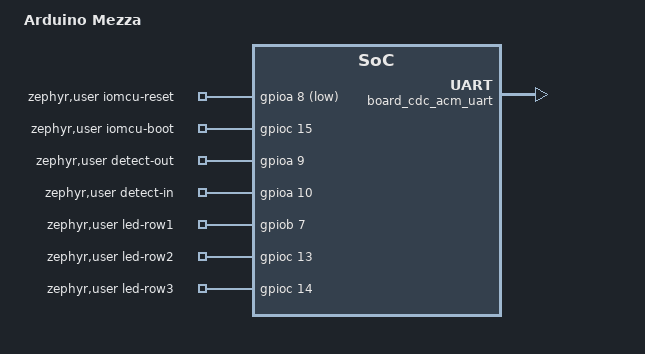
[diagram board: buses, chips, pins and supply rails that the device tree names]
/*
 * Copyright (c) 2026 Arduino SA
 *
 * SPDX-License-Identifier: Apache-2.0
 */

/dts-v1/;
#include "arduino_mezza_in-common.dtsi"

/ {
	model = "Arduino Mezza";
	compatible = "arduino,mezza";

	#address-cells = <1>;
	#size-cells = <1>;

	chosen {
		zephyr,console = &uart5;
		zephyr,shell-uart = &uart5;
		zephyr,sram = &sram1;
		zephyr,flash = &flash0;
		zephyr,code-partition = &slot0_partition;
	};

	aliases {
		led0 = &blue_led_0;
		/*led1 = &blue_led_0;
		watchdog0 = &iwdg;
		volt-sensor0 = &vref;
		volt-sensor1 = &vbat;
		button = &button0;
		fade-led = &pwm_led_0;*/
	};

	zephyr,user {
		iomcu-reset-gpios = <&gpioa 8 GPIO_ACTIVE_LOW>;
		iomcu-boot-gpios = <&gpioc 15 GPIO_ACTIVE_HIGH>;
		detect-out-gpios = <&gpioa 9 GPIO_ACTIVE_HIGH>;
		detect-in-gpios = <&gpioa 10 GPIO_ACTIVE_HIGH>;
		led-row1-gpios = <&gpiob 7 GPIO_ACTIVE_HIGH>;
		led-row2-gpios = <&gpioc 13 GPIO_ACTIVE_HIGH>;
		led-row3-gpios = <&gpioa 15 GPIO_ACTIVE_HIGH>;
		led-row3-gpios = <&gpioc 14 GPIO_ACTIVE_HIGH>;
	};
};

&zephyr_udc0 {
	board_cdc_acm_uart: board_cdc_acm_uart {
		compatible = "zephyr,cdc-acm-uart";
		status = "okay";
	};
};
